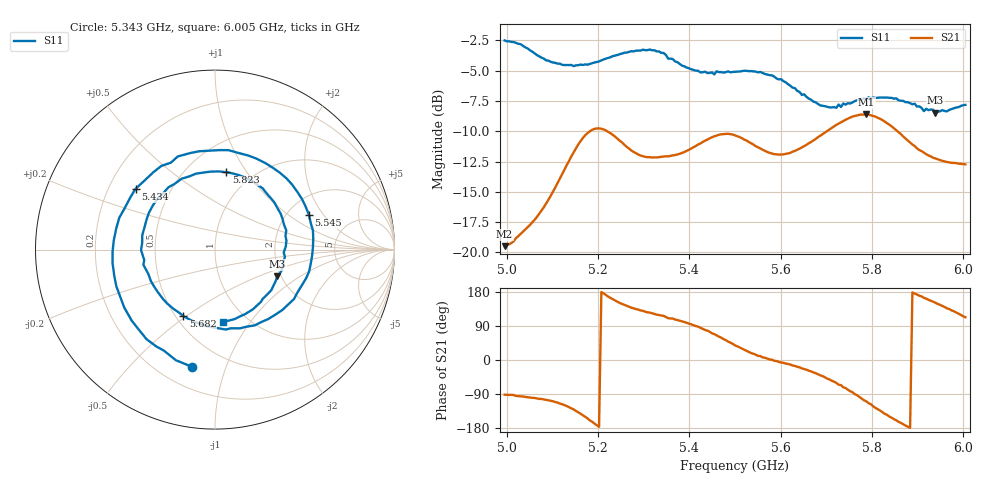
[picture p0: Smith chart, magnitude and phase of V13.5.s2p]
!File created by NanoVNA
# Hz S RI R 50
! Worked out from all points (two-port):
!   201 points, 4.995 GHz to 6.005 GHz, reference 50 ohm
!   highest |S21| = -8.59 dB at 5.788 GHz (marker M1); lowest = -19.5 dB at 4.995 GHz (marker M2)
!   |S21| within 3 dB of the highest: 5.395 GHz to 5.565 GHz (169.6 MHz wide, 3.09 % of centre); 5.633 GHz to 5.907 GHz (274.2 MHz wide, 4.75 % of centre)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
!   lowest |S11| = -8.4 dB at 5.939 GHz (marker M3), VSWR 2.22, Z = 95.6 - j33.3 ohm
!   |S11| at or under -10 dB: nowhere
!   S12 and S22 are empty: the file has one direction only
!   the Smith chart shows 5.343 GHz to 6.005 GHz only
!   S11 on the Smith chart (normalised r, x): 5.343 GHz: 0.33, -0.77; 5.434 GHz: 0.31, +0.31; 5.545 GHz: 2.61, +1.45; 5.682 GHz: 0.55, -0.49; 5.823 GHz: 0.76, +0.81; 6.005 GHz: 0.77, -0.75
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4.995e9  0.2092 -0.7201  -0.00295 -0.1061  0 0  0 0
5.03035e9  -0.3109 -0.6533  -0.0127 -0.1187  0 0  0 0
5.0758e9  -0.6307 -0.0883  -0.0331 -0.1452  0 0  0 0
5.1263e9  -0.3407 0.4858  -0.1074 -0.1918  0 0  0 0
5.1667e9  0.1091 0.5838  -0.2463 -0.1662  0 0  0 0
5.2172e9  0.552 0.3064  -0.3151 0.0467  0 0  0 0
5.2576e9  0.6588 -0.1071  -0.2289 0.158  0 0  0 0
5.33335e9  0.0055 -0.6756  -0.1186 0.217  0 0  0 0
5.34345e9  -0.1279 -0.6531  -0.1106 0.2229  0 0  0 0
5.3889e9  -0.5497 -0.2048  -0.0465 0.2554  0 0  0 0
5.43435e9  -0.4424 0.3389  0.0533 0.2842  0 0  0 0
5.5e9  0.2295 0.5075  0.2381 0.1894  0 0  0 0
5.54545e9  0.5236 0.1916  0.2664 0.0665  0 0  0 0
5.6212e9  0.2978 -0.3863  0.2521 -0.0536  0 0  0 0
5.6717e9  -0.1027 -0.4066  0.2438 -0.1568  0 0  0 0
5.6818e9  -0.1756 -0.3708  0.2367 -0.1828  0 0  0 0
5.73735e9  -0.4118 -0.00291  0.108 -0.3315  0 0  0 0
5.78785e9  -0.2271 0.3647  -0.1219 -0.3512  0 0  0 0
5.8232e9  0.0624 0.4315  -0.2603 -0.2367  0 0  0 0
5.83835e9  0.1691 0.4005  -0.2894 -0.1721  0 0  0 0
5.93935e9  0.3474 -0.1493  -0.2132 0.1189  0 0  0 0
6.005e9  0.0419 -0.4045  -0.0899 0.2127  0 0  0 0
